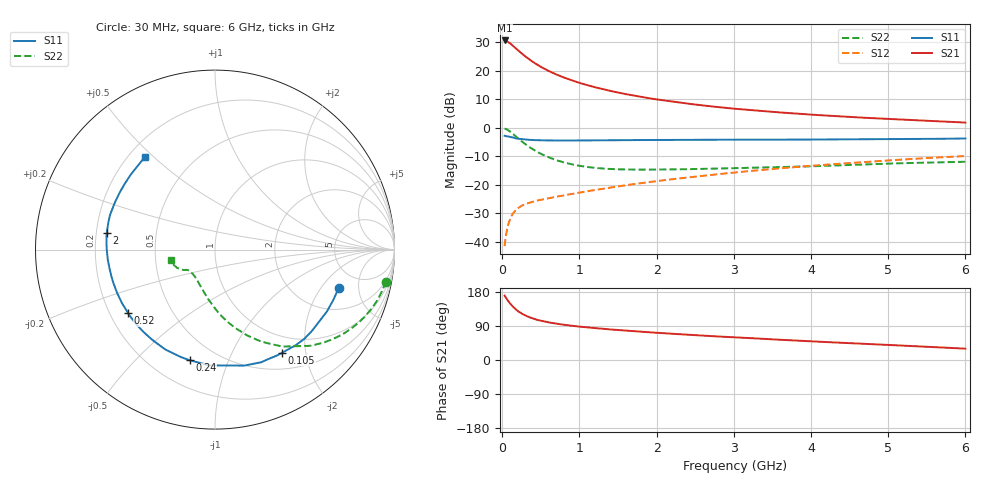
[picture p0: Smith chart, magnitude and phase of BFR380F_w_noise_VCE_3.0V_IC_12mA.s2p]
! Infineon Technologies  Discrete & RF Semiconductors
! BFR380F
! VCE =  3.0 V,  IC =  12 mA
! Common Emitter S-Parameters:  Nov 2015
# GHz  S  MA  R  50
!  f  S11  S21  S12  S22
! GHz  MAG  ANG  MAG  ANG  MAG  ANG  MAG  ANG
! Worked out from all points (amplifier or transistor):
!   206 points, 30 MHz to 6 GHz, reference 50 ohm
!   highest |S21| = 30.6 dB at 30 MHz (marker M1)
!   |S21| within 3 dB of that: start of sweep to 185 MHz
!   unconditionally stable (mu >= 1): 1.655 GHz to 5.076 GHz
!   at 200 MHz: K = 0.26, MSG = 27.8 dB, |S12| = -28.3 dB
!   at 1.56 GHz: K = 0.99, MSG = 16.2 dB, |S12| = -20.4 dB
!   at 6 GHz: K = 0.98, MSG = 5.9 dB, |S12| = -10.0 dB
!   lowest NFmin = 0.90 dB at 900 MHz
!   S11 on the Smith chart (normalised r, x): 30 MHz: 3.36, -3.01; 105 MHz: 0.73, -1.59; 240 MHz: 0.36, -0.73; 520 MHz: 0.28, -0.30; 2 GHz: 0.24, +0.07; 6 GHz: 0.26, +0.47
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0.03  0.7216 -17.3  34.07 169.9  0.0083 82.3  0.9688 -10.6
0.05  0.7125 -28.9  33.53 163.1  0.0135 77.2  0.9477 -17.4
0.07  0.705 -39.8  32.38 157.3  0.0185 72.9  0.9158 -23.9
0.09  0.6968 -50.0  31.01 151.9  0.0227 68.6  0.8784 -29.9
0.105  0.6856 -56.9  29.93 148.2  0.0255 65.6  0.8478 -34.1
0.12  0.6785 -63.7  28.81 144.5  0.0282 62.9  0.8169 -38.1
0.15  0.6665 -75.8  26.64 138.1  0.0327 58.5  0.7552 -45.2
0.2  0.646 -92.7  23.14 129.2  0.0383 53.1  0.659 -55.1
0.24  0.6323 -102.9  20.78 124.1  0.0416 50.2  0.5935 -61.2
0.3  0.6217 -116.3  17.8 117.1  0.0456 47.3  0.5114 -69.4
0.36  0.6111 -126.0  15.48 112.2  0.0485 45.8  0.4486 -75.7
0.45  0.6039 -137.3  12.85 106.1  0.0523 45.0  0.3777 -83.7
0.52  0.5997 -143.8  11.35 102.8  0.0549 45.3  0.3381 -88.6
0.7  0.5965 -156.0  8.606 95.8  0.0613 47.0  0.2689 -99.6
1.04  0.5968 -169.5  5.909 87.3  0.0741 51.5  0.2099 -114.6
1.4  0.602 -178.5  4.424 80.6  0.0888 55.4  0.1882 -126.2
2  0.6102 171.4  3.142 71.8  0.1153 59.3  0.1839 -136.9
2.02  0.6103 171.1  3.115 71.6  0.1162 59.4  0.184 -137.1
3.1  0.6155 158.5  2.105 58.9  0.1678 61.4  0.196 -144.8
4.1  0.6195 147.7  1.664 48.3  0.2192 60.0  0.2119 -147.8
5.1  0.6287 137.7  1.404 38.8  0.2713 57.1  0.2364 -155.4
6  0.6469 127.2  1.231 30.0  0.3178 53.0  0.2521 -167.2
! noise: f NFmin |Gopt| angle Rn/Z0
0.45  0.92  0.1  136  0.09
0.9  0.9  0.19  145  0.08
1.8  1.16  0.33  171  0.07
1.9  1.24  0.34  172  0.07
2.4  1.37  0.37  -175  0.08
3.5  1.99  0.48  -158  0.11
